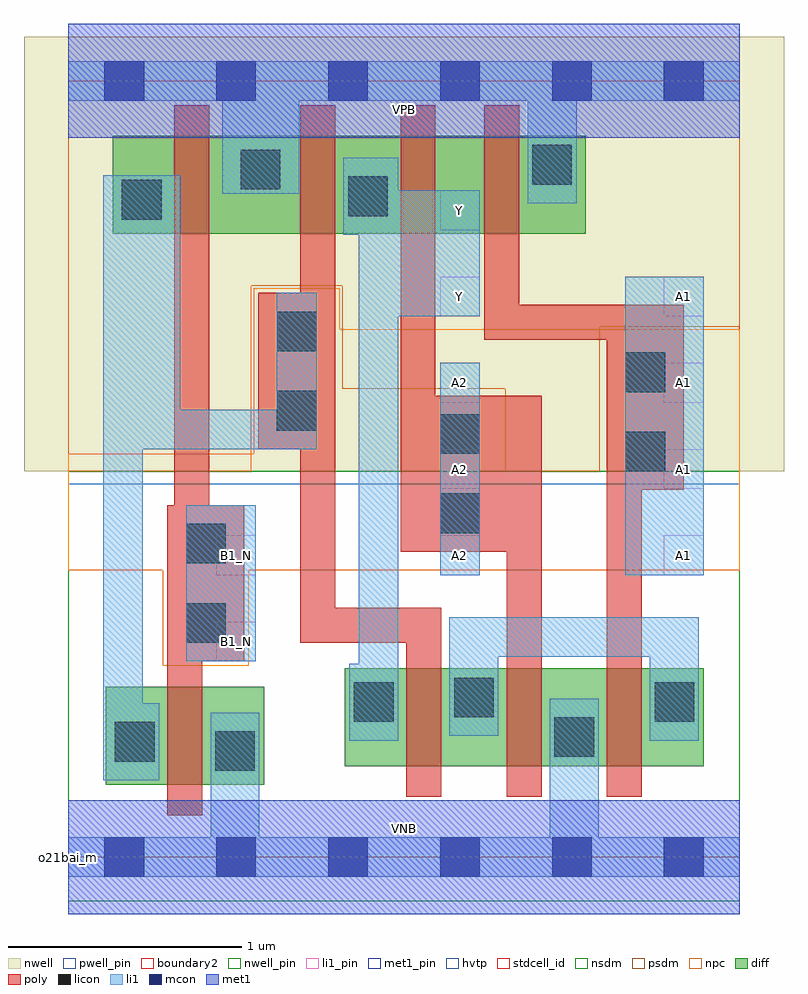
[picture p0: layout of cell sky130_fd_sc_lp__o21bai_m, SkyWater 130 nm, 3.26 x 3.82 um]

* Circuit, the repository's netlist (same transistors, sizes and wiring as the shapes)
* Copyright 2020 The SkyWater PDK Authors
*
* Licensed under the Apache License, Version 2.0 (the "License");
* you may not use this file except in compliance with the License.
* You may obtain a copy of the License at
*
*     https://www.apache.org/licenses/LICENSE-2.0
*
* Unless required by applicable law or agreed to in writing, software
* distributed under the License is distributed on an "AS IS" BASIS,
* WITHOUT WARRANTIES OR CONDITIONS OF ANY KIND, either express or implied.
* See the License for the specific language governing permissions and
* limitations under the License.
*
* SPDX-License-Identifier: Apache-2.0

.SUBCKT sky130_fd_sc_lp__o21bai_m A1 A2 B1_N VGND VNB VPB VPWR Y
*.PININFO A1:I A2:I B1_N:I VGND:I VNB:I VPB:I VPWR:I Y:O
MMPA0 VPWR A1 sndA1 VPB sky130_fd_pr__pfet_01v8_hvt m=1 w=0.42U l=0.15U mult=1
+ sa=0.265 sb=0.265 sd=0.28 area=0.063 perim=1.14
MMPA1 sndA1 A2 Y VPB sky130_fd_pr__pfet_01v8_hvt m=1 w=0.42U l=0.15U mult=1 sa=0.265
+ sb=0.265 sd=0.28 area=0.063 perim=1.14
MMPB0 VPWR B1 Y VPB sky130_fd_pr__pfet_01v8_hvt m=1 w=0.42U l=0.15U mult=1 sa=0.265
+ sb=0.265 sd=0.28 area=0.063 perim=1.14
MMIPB1N B1 B1_N VPWR VPB sky130_fd_pr__pfet_01v8_hvt m=1 w=0.42U l=0.15U mult=1
+ sa=0.265 sb=0.265 sd=0.28 area=0.063 perim=1.14
MMNA0 pndA A1 VGND VNB sky130_fd_pr__nfet_01v8 m=1 w=0.42U l=0.15U mult=1 sa=0.265
+ sb=0.265 sd=0.28 area=0.063 perim=1.14
MMNA1 pndA A2 VGND VNB sky130_fd_pr__nfet_01v8 m=1 w=0.42U l=0.15U mult=1 sa=0.265
+ sb=0.265 sd=0.28 area=0.063 perim=1.14
MMNB0 Y B1 pndA VNB sky130_fd_pr__nfet_01v8 m=1 w=0.42U l=0.15U mult=1 sa=0.265
+ sb=0.265 sd=0.28 area=0.063 perim=1.14
MMINB1N B1 B1_N VGND VNB sky130_fd_pr__nfet_01v8 m=1 w=0.42U l=0.15U mult=1 sa=0.265
+ sb=0.265 sd=0.28 area=0.063 perim=1.14
.ENDS sky130_fd_sc_lp__o21bai_m

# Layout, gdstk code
import gdstk
lib = gdstk.Library(unit=1e-6, precision=1e-09)
def R(c, l, rs):  # rectangles x0, y0, x1, y1
    for r in rs: c.add(gdstk.rectangle(r[:2], r[2:], *l))
def A(c, l, x, y, w, h, nx, ny, dx, dy):  # array of equal rectangles
    R(c, l, [(x+i*dx, y+j*dy, x+i*dx+w, y+j*dy+h) for i in range(nx) for j in range(ny)])
def P(c, l, *ps):  # polygons
    for p in ps: c.add(gdstk.Polygon(p, *l))
nwell_pin = (64, 16)
nwell = (64, 20)
diff = (65, 20)
poly = (66, 20)
licon = (66, 44)
li1_pin = (67, 16)
li1 = (67, 20)
mcon = (67, 44)
met1_pin = (68, 16)
met1 = (68, 20)
hvtp = (78, 44)
stdcell_id = (81, 4)
nsdm = (93, 44)
psdm = (94, 20)
npc = (95, 20)
pwell_pin = (122, 16)
boundary2 = (236, 0)

sky130_fd_sc_lp__o21bai_ = lib.new_cell('sky130_fd_sc_lp__o21bai_m')
R(sky130_fd_sc_lp__o21bai_, nwell_pin, [(0,3.085,2.88,3.33)])
R(sky130_fd_sc_lp__o21bai_, nwell, [(-0.19,1.655,3.07,3.52)])
R(sky130_fd_sc_lp__o21bai_, diff, [(0.16,0.31,0.84,0.73), (1.185,0.39,2.725,0.81), (0.19,2.675,2.22,3.095)])
P(sky130_fd_sc_lp__o21bai_, poly, [(0.755,1.51),(0.605,1.51),(0.605,3.225),(0.455,3.225),(0.455,1.51),(0.425,1.51),(0.425,0.18),(0.575,0.18),(0.575,0.84),(0.755,0.84)],
  [(1.6,1.07),(1.145,1.07),(1.145,3.225),(0.995,3.225),(0.995,2.42),(0.815,2.42),(0.815,1.75),(0.995,1.75),(0.995,0.92),(1.45,0.92),(1.45,0.26),(1.6,0.26)],
  [(2.03,1.98),(1.575,1.98),(1.575,3.225),(1.425,3.225),(1.425,1.31),(1.88,1.31),(1.88,0.26),(2.03,0.26)],
  [(2.64,2.37),(1.935,2.37),(1.935,3.225),(1.785,3.225),(1.785,2.22),(2.31,2.22),(2.31,0.26),(2.46,0.26),(2.46,1.575),(2.64,1.575)])
R(sky130_fd_sc_lp__o21bai_, licon, [(0.63,0.37,0.8,0.54), (0.2,0.41,0.37,0.58), (2.085,0.43,2.255,0.6), (1.225,0.58,1.395,0.75), (2.515,0.58,2.685,0.75), (1.655,0.6,1.825,0.77), (0.505,0.92,0.675,1.09), (0.505,1.26,0.675,1.43), (1.595,1.39,1.765,1.56), (2.39,1.655,2.56,1.825), (1.595,1.73,1.765,1.9), (0.895,1.83,1.065,2), (2.39,1.995,2.56,2.165), (0.895,2.17,1.065,2.34), (0.23,2.735,0.4,2.905), (1.2,2.75,1.37,2.92), (0.74,2.865,0.91,3.035), (1.99,2.885,2.16,3.055)])
A(sky130_fd_sc_lp__o21bai_, li1_pin, 0.635, 1.21, 0.17, 0.17, 3, 1, 0.96, 0)
A(sky130_fd_sc_lp__o21bai_, li1_pin, 1.595, 1.58, 0.17, 0.17, 1, 4, 0, 0.37)
A(sky130_fd_sc_lp__o21bai_, li1_pin, 2.555, 1.58, 0.17, 0.17, 1, 3, 0, 0.37)
R(sky130_fd_sc_lp__o21bai_, li1_pin, [(0.635,0.84,0.805,1.01)])
R(sky130_fd_sc_lp__o21bai_, li1, [(0.505,0.84,0.805,1.51), (1.595,1.21,1.765,2.12), (2.39,1.21,2.725,2.49)])
P(sky130_fd_sc_lp__o21bai_, li1, [(1.97,2.805),(1.97,3.245),(0.99,3.245),(0.99,2.845),(0.66,2.845),(0.66,3.245),(0,3.245),(0,3.415),(2.88,3.415),(2.88,3.245),(2.18,3.245),(2.18,2.805)],
  [(2.065,0.085),(2.065,0.68),(2.275,0.68),(2.275,0.085),(2.88,0.085),(2.88,-0.085),(0,-0.085),(0,0.085),(0.61,0.085),(0.61,0.62),(0.82,0.62),(0.82,0.085)],
  [(2.495,0.5),(2.495,0.86),(1.845,0.86),(1.845,0.52),(1.635,0.52),(1.635,1.03),(2.705,1.03),(2.705,0.5)],
  [(1.18,2.67),(1.18,3),(1.415,3),(1.415,2.86),(1.765,2.86),(1.765,2.32),(1.415,2.32),(1.415,0.5),(1.205,0.5),(1.205,0.83),(1.245,0.83),(1.245,2.67)],
  [(0.48,1.92),(0.895,1.92),(0.895,2.42),(1.065,2.42),(1.065,1.75),(0.32,1.75),(0.32,0.66),(0.39,0.66),(0.39,0.33),(0.15,0.33),(0.15,2.925),(0.48,2.925)])
A(sky130_fd_sc_lp__o21bai_, mcon, 0.155, -0.085, 0.17, 0.17, 6, 2, 0.48, 3.33)
R(sky130_fd_sc_lp__o21bai_, met1_pin, [(0,0,2.88,0.245), (0,3.085,2.88,3.33)])
R(sky130_fd_sc_lp__o21bai_, met1, [(0,-0.245,2.88,0.245), (0,3.085,2.88,3.575)])
R(sky130_fd_sc_lp__o21bai_, hvtp, [(0,1.6,2.88,3.33)])
R(sky130_fd_sc_lp__o21bai_, stdcell_id, [(0,0,2.88,3.33)])
R(sky130_fd_sc_lp__o21bai_, nsdm, [(0,-0.19,2.88,1.655)])
P(sky130_fd_sc_lp__o21bai_, psdm, [(2.88,3.52),(0,3.52),(0,1.655),(0.785,1.655),(0.785,2.45),(1.175,2.45),(1.175,2.01),(1.875,2.01),(1.875,1.655),(2.28,1.655),(2.28,2.275),(2.88,2.275)])
P(sky130_fd_sc_lp__o21bai_, npc, [(2.88,2.265),(1.165,2.265),(1.165,2.44),(0.795,2.44),(0.795,1.73),(0,1.73),(0,1.23),(0.405,1.23),(0.405,0.82),(0.775,0.82),(0.775,1.23),(2.88,1.23)])
R(sky130_fd_sc_lp__o21bai_, pwell_pin, [(0,0,2.88,0.245)])
R(sky130_fd_sc_lp__o21bai_, boundary2, [(0,0,2.88,3.33)])
sky130_fd_sc_lp__o21bai_.add(gdstk.Label('VNB', (1.44,0.123), layer=64, texttype=59))
sky130_fd_sc_lp__o21bai_.add(gdstk.Label('VPB', (1.44,3.208), layer=64, texttype=5))
sky130_fd_sc_lp__o21bai_.add(gdstk.Label('o21bai_m', (0,0), layer=83, texttype=44))
sky130_fd_sc_lp__o21bai_.add(gdstk.Label('VPWR', (1.44,3.208), layer=68, texttype=5))
sky130_fd_sc_lp__o21bai_.add(gdstk.Label('VGND', (1.44,0.123), layer=68, texttype=5))
sky130_fd_sc_lp__o21bai_.add(gdstk.Label('A1', (2.64,1.295), layer=67, texttype=5))
sky130_fd_sc_lp__o21bai_.add(gdstk.Label('A1', (2.64,1.665), layer=67, texttype=5))
sky130_fd_sc_lp__o21bai_.add(gdstk.Label('A1', (2.64,2.035), layer=67, texttype=5))
sky130_fd_sc_lp__o21bai_.add(gdstk.Label('A1', (2.64,2.405), layer=67, texttype=5))
sky130_fd_sc_lp__o21bai_.add(gdstk.Label('A2', (1.68,1.295), layer=67, texttype=5))
sky130_fd_sc_lp__o21bai_.add(gdstk.Label('A2', (1.68,1.665), layer=67, texttype=5))
sky130_fd_sc_lp__o21bai_.add(gdstk.Label('A2', (1.68,2.035), layer=67, texttype=5))
sky130_fd_sc_lp__o21bai_.add(gdstk.Label('Y', (1.68,2.405), layer=67, texttype=5))
sky130_fd_sc_lp__o21bai_.add(gdstk.Label('Y', (1.68,2.775), layer=67, texttype=5))
sky130_fd_sc_lp__o21bai_.add(gdstk.Label('B1_N', (0.72,0.925), layer=67, texttype=5))
sky130_fd_sc_lp__o21bai_.add(gdstk.Label('B1_N', (0.72,1.295), layer=67, texttype=5))

lib.write_gds('sky130_fd_sc_lp__o21bai_m.gds')
